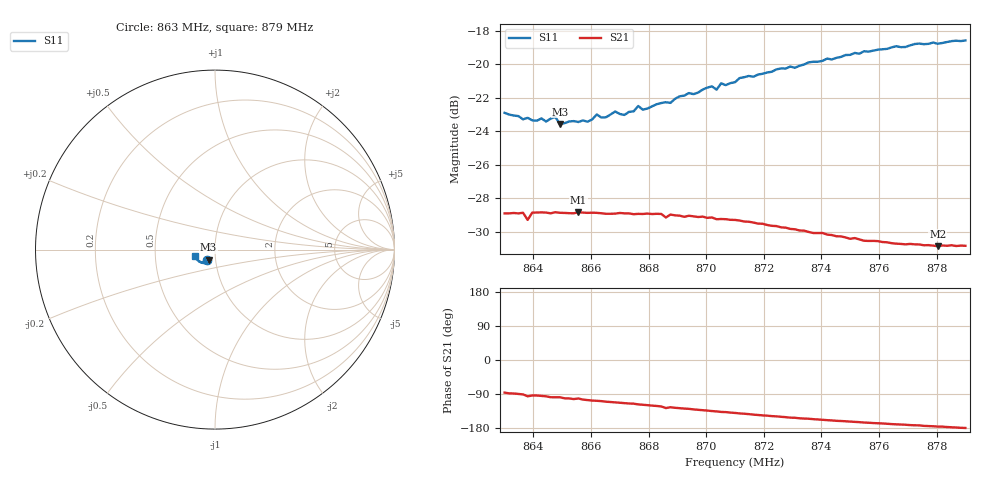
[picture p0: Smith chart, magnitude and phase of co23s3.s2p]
# HZ S RI R 50
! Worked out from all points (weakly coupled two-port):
!   101 points, 863 MHz to 879 MHz, reference 50 ohm
!   highest |S21| = -28.84 dB at 865.56 MHz (marker M1); lowest = -30.9 dB at 878.04 MHz (marker M2)
!   lowest |S11| = -23.6 dB at 864.92 MHz (marker M3), VSWR 1.14, Z = 46.3 - j5.2 ohm
!   |S11| at or under -10 dB: start of sweep to end of sweep
!   S12 and S22 are empty: the file has one direction only
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8.63e8  -0.0447 -0.056  0.00245 -0.0358  0 0  0 0
8.6364e8  -0.0413 -0.0546  -0.000508 -0.036  0 0  0 0
8.638e8  -0.0419 -0.0551  -0.00347 -0.0341  0 0  0 0
8.6396e8  -0.0411 -0.0543  -0.00234 -0.0359  0 0  0 0
8.6444e8  -0.0406 -0.0539  -0.00368 -0.0359  0 0  0 0
8.6476e8  -0.0398 -0.0571  -0.00524 -0.0358  0 0  0 0
8.6492e8  -0.0357 -0.0559  -0.0052 -0.0356  0 0  0 0
8.6556e8  -0.0325 -0.0589  -0.00722 -0.0354  0 0  0 0
8.6572e8  -0.0347 -0.0585  -0.00904 -0.0349  0 0  0 0
8.6588e8  -0.0344 -0.058  -0.00976 -0.0346  0 0  0 0
8.662e8  -0.0377 -0.0601  -0.0109 -0.0343  0 0  0 0
8.6652e8  -0.0335 -0.0609  -0.0122 -0.0336  0 0  0 0
8.6684e8  -0.0367 -0.0623  -0.0133 -0.0332  0 0  0 0
8.6716e8  -0.0329 -0.0625  -0.0145 -0.0328  0 0  0 0
8.6764e8  -0.0366 -0.0656  -0.0163 -0.0318  0 0  0 0
8.678e8  -0.0358 -0.0639  -0.0168 -0.0315  0 0  0 0
8.6844e8  -0.0369 -0.0672  -0.0192 -0.0301  0 0  0 0
8.71e8  -0.0501 -0.0729  -0.0261 -0.0222  0 0  0 0
8.7372e8  -0.0695 -0.0744  -0.0286 -0.0127  0 0  0 0
8.7644e8  -0.0941 -0.0616  -0.0287 -0.0055  0 0  0 0
8.7804e8  -0.1047 -0.0483  -0.0285 -0.00214  0 0  0 0
8.79e8  -0.1118 -0.0378  -0.0287 -0.000327  0 0  0 0
